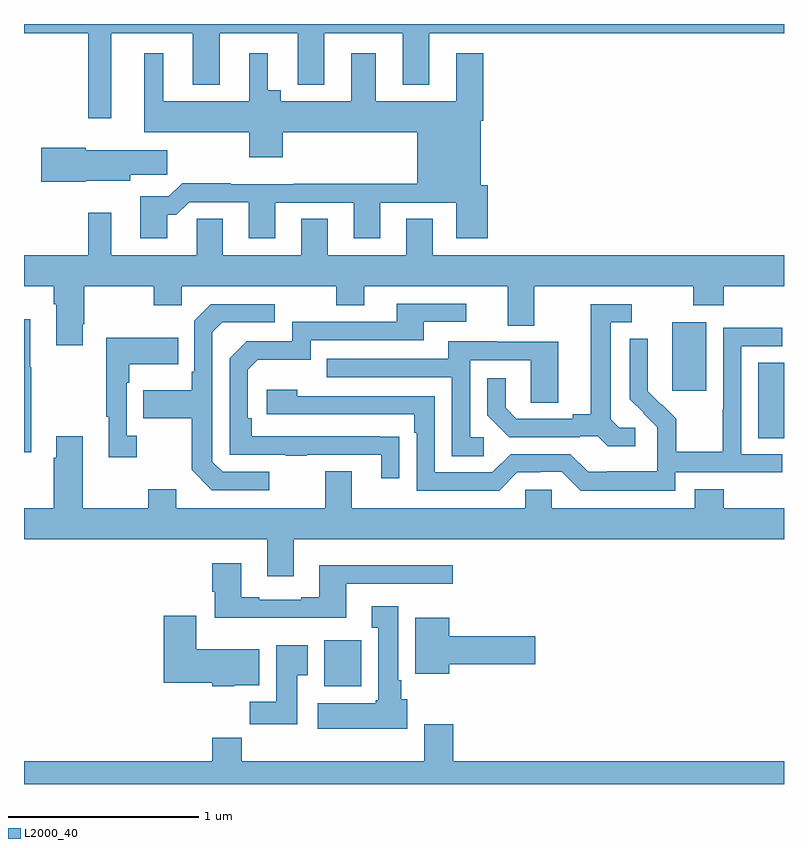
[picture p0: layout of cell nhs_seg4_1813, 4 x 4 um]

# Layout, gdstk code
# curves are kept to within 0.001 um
import gdstk
lib = gdstk.Library(unit=1e-6, precision=1e-09)
def R(c, l, rs):  # rectangles x0, y0, x1, y1
    for r in rs: c.add(gdstk.rectangle(r[:2], r[2:], *l))
def P(c, l, *ps):  # polygons
    for p in ps: c.add(gdstk.Polygon(p, *l))
L2000_40 = (2000, 40)

nhs_seg4_1813 = lib.new_cell('nhs_seg4_1813')
R(nhs_seg4_1813, L2000_40, [(206.579,761.414,206.776,761.656), (208.865,762.721,209,763.118), (208.412,762.969,208.591,763.33)])
P(nhs_seg4_1813, L2000_40, [(205.459,764.852),(205.889,764.852),(205.889,764.579),(206.029,764.579),(206.029,764.852),(206.441,764.852),(206.441,764.579),(206.581,764.579),(206.581,764.852),(206.993,764.852),(206.993,764.579),(207.133,764.579),(207.133,764.852),(209,764.852),(209,764.9),(205,764.9),(205,764.852),(205.338,764.852),(205.338,764.403),(205.459,764.403)],
  [(205.753,763.895),(205.802,763.895),(205.869,763.962),(206.183,763.962),(206.183,763.773),(206.323,763.773),(206.323,763.959),(206.735,763.959),(206.735,763.773),(206.875,763.773),(206.875,763.959),(207.275,763.959),(207.275,763.773),(207.44,763.773),(207.44,764.052),(207.403,764.052),(207.403,764.39),(207.416,764.39),(207.416,764.746),(207.275,764.746),(207.275,764.494),(206.851,764.494),(206.851,764.746),(206.723,764.746),(206.723,764.494),(206.35,764.494),(206.35,764.551),(206.284,764.551),(206.284,764.746),(206.186,764.746),(206.186,764.494),(205.732,764.494),(205.732,764.746),(205.634,764.746),(205.634,764.33),(206.185,764.33),(206.185,764.199),(206.363,764.199),(206.363,764.33),(207.071,764.33),(207.071,764.06),(206.419,764.06),(206.419,764.056),(206.087,764.056),(206.087,764.063),(205.832,764.063),(205.762,763.993),(205.613,763.993),(205.613,763.773),(205.753,763.773)],
  [(205.326,764.075),(205.558,764.075),(205.558,764.107),(205.753,764.107),(205.753,764.236),(205.326,764.236),(205.326,764.249),(205.092,764.249),(205.092,764.071),(205.326,764.071)],
  [(205.309,763.321),(205.317,763.321),(205.317,763.52),(205.684,763.52),(205.684,763.421),(205.83,763.421),(205.83,763.52),(206.644,763.52),(206.644,763.421),(206.791,763.421),(206.791,763.52),(207.545,763.52),(207.545,763.312),(207.685,763.312),(207.685,763.52),(208.522,763.52),(208.522,763.421),(208.682,763.421),(208.682,763.52),(209,763.52),(209,763.684),(207.151,763.684),(207.151,763.874),(207.011,763.874),(207.011,763.684),(206.599,763.684),(206.599,763.874),(206.459,763.874),(206.459,763.684),(206.047,763.684),(206.047,763.874),(205.908,763.874),(205.908,763.684),(205.459,763.684),(205.459,763.906),(205.338,763.906),(205.338,763.684),(205,763.684),(205,763.52),(205.157,763.52),(205.157,763.424),(205.169,763.424),(205.169,763.209),(205.309,763.209)],
  [(206.975,762.728),(206.198,762.729),(206.198,762.826),(206.178,762.826),(206.178,763.08),(206.231,763.133),(206.508,763.133),(206.508,763.236),(207.103,763.236),(207.103,763.332),(207.328,763.332),(207.328,763.428),(206.963,763.428),(206.963,763.332),(206.412,763.332),(206.412,763.23),(206.172,763.23),(206.082,763.14),(206.082,762.633),(206.377,762.633),(206.377,762.628),(206.489,762.628),(206.489,762.633),(206.879,762.633),(206.879,762.51),(206.975,762.51)],
  [(208.216,762.774),(208.134,762.774),(208.087,762.821),(208.087,763.329),(208.198,763.329),(208.198,763.425),(207.983,763.425),(207.983,762.845),(207.887,762.845),(207.887,762.822),(207.592,762.822),(207.535,762.879),(207.535,763.036),(207.438,763.036),(207.438,762.842),(207.554,762.726),(207.926,762.726),(207.926,762.729),(208.02,762.729),(208.072,762.677),(208.216,762.677)],
  [(206.29,762.543),(206.046,762.543),(205.992,762.597),(205.992,763.278),(206.043,763.329),(206.32,763.329),(206.32,763.425),(205.983,763.425),(205.896,763.338),(205.896,763.069),(205.884,763.069),(205.884,762.973),(205.627,762.973),(205.627,762.826),(205.884,762.826),(205.884,762.553),(205.989,762.447),(206.29,762.447)],
  [(205.039,763.093),(205.033,763.093),(205.033,763.345),(205,763.345),(205,762.645),(205.039,762.645)],
  [(208.428,762.54),(208.99,762.54),(208.99,762.636),(208.776,762.636),(208.776,763.203),(208.99,763.203),(208.99,763.302),(208.68,763.302),(208.68,762.872),(208.678,762.872),(208.678,762.649),(208.433,762.649),(208.433,762.823),(208.356,762.9),(208.353,762.897),(208.283,762.968),(208.284,763.244),(208.188,763.244),(208.188,762.926),(208.334,762.778),(208.334,762.681),(208.332,762.681),(208.332,762.547),(208.069,762.547),(208.069,762.543),(207.969,762.543),(207.876,762.636),(207.561,762.636),(207.465,762.54),(207.162,762.54),(207.162,762.942),(206.438,762.942),(206.438,762.976),(206.277,762.976),(206.277,762.846),(207.053,762.846),(207.053,762.749),(207.066,762.749),(207.066,762.444),(207.501,762.444),(207.597,762.54),(207.716,762.54),(207.716,762.543),(207.831,762.543),(207.931,762.443),(208.428,762.443)],
  [(205.594,762.734),(205.542,762.734),(205.542,763.013),(205.555,763.013),(205.555,763.109),(205.811,763.109),(205.811,763.249),(205.434,763.249),(205.434,762.833),(205.445,762.833),(205.445,762.621),(205.594,762.621)],
  [(207.421,762.726),(207.348,762.726),(207.348,763.131),(207.666,763.131),(207.666,762.907),(207.811,762.907),(207.811,763.227),(207.487,763.227),(207.487,763.231),(207.233,763.231),(207.233,763.137),(206.593,763.137),(206.593,763.041),(207.252,763.041),(207.252,762.625),(207.421,762.625)],
  [(205.169,762.73),(205.169,762.617),(205.157,762.617),(205.157,762.352),(205,762.352),(205,762.188),(206.279,762.188),(206.279,761.994),(206.419,761.994),(206.419,762.188),(209,762.188),(209,762.352),(208.682,762.352),(208.682,762.451),(208.529,762.451),(208.529,762.352),(207.777,762.352),(207.777,762.45),(207.639,762.45),(207.639,762.352),(206.725,762.352),(206.725,762.547),(206.585,762.547),(206.585,762.352),(205.801,762.352),(205.801,762.451),(205.654,762.451),(205.654,762.352),(205.309,762.352),(205.309,762.73)],
  [(206.695,761.955),(207.256,761.955),(207.256,762.052),(206.555,762.052),(206.555,761.884),(206.459,761.884),(206.459,761.871),(206.239,761.871),(206.239,761.884),(206.143,761.884),(206.143,762.061),(205.991,762.061),(205.991,761.913),(206.003,761.913),(206.003,761.774),(206.695,761.774)],
  [(207.016,761.346),(206.986,761.346),(206.986,761.446),(206.971,761.446),(206.971,761.836),(206.831,761.836),(206.831,761.723),(206.864,761.723),(206.864,761.34),(206.851,761.34),(206.851,761.326),(206.547,761.326),(206.547,761.192),(207.016,761.192)],
  [(206.106,761.42),(206.239,761.42),(206.239,761.608),(205.906,761.608),(205.906,761.785),(205.736,761.785),(205.736,761.432),(205.992,761.432),(205.992,761.414),(206.106,761.414)],
  [(207.238,761.531),(207.691,761.531),(207.691,761.678),(207.238,761.678),(207.238,761.776),(207.059,761.776),(207.059,761.48),(207.238,761.48)],
  [(206.437,761.473),(206.494,761.473),(206.494,761.629),(206.327,761.629),(206.327,761.332),(206.188,761.332),(206.188,761.214),(206.437,761.214)],
  [(209,761.02),(207.26,761.02),(207.26,761.215),(207.107,761.215),(207.107,761.02),(206.147,761.02),(206.147,761.144),(205.991,761.144),(205.991,761.02),(205,761.02),(205,760.9),(209,760.9)])

lib.write_gds('nhs_seg4_1813.gds')
